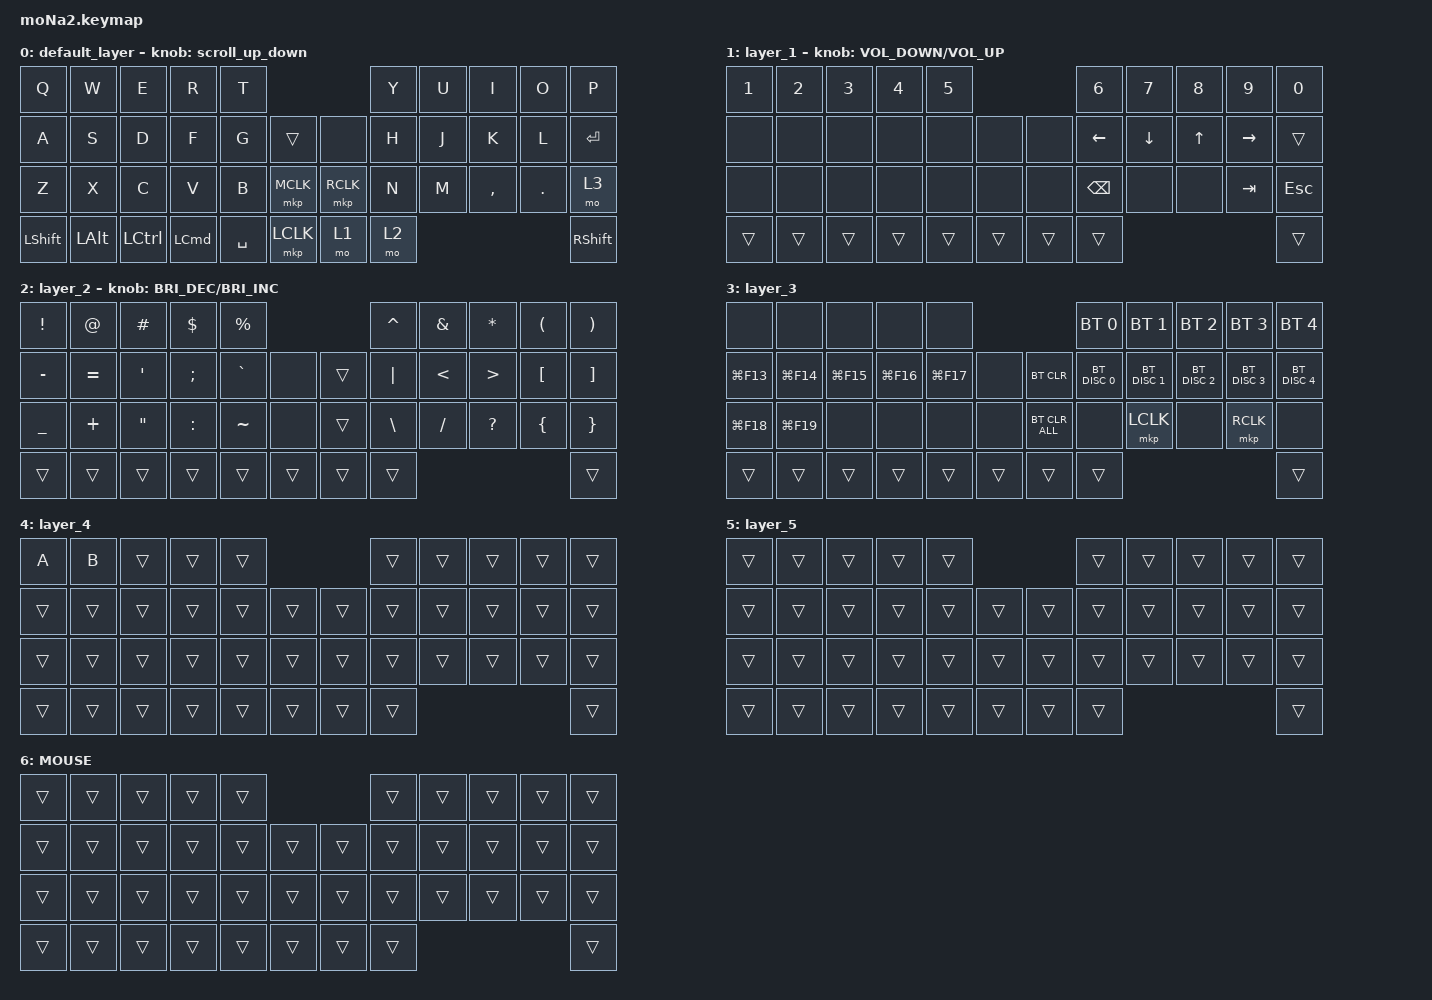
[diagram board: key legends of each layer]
#include <behaviors.dtsi>
#include <dt-bindings/zmk/bt.h>
#include <dt-bindings/zmk/keys.h>
#include <dt-bindings/zmk/pointing.h>

#define ZMK_POINTING_DEFAULT_SCRL_VAL 100
#define MOUSE 6

/ {
    combos { compatible = "zmk,combos"; };

    behaviors {
        scroll_up_down: behavior_sensor_rotate_mouse_wheel_up_down {
            compatible = "zmk,behavior-sensor-rotate";
            #sensor-binding-cells = <0>;
            bindings = <&msc SCRL_DOWN>, <&msc SCRL_UP>;

            tap-ms = <20>;
        };
    };

    keymap {
        compatible = "zmk,keymap";

        default_layer {
            bindings = <
&kp Q           &kp W         &kp E             &kp R             &kp T                              &kp Y  &kp U  &kp I      &kp O    &kp P
&kp A           &kp S         &kp D             &kp F             &kp G      &trans       &none      &kp H  &kp J  &kp K      &kp L    &kp ENTER
&kp Z           &kp X         &kp C             &kp V             &kp B      &mkp MCLK    &mkp RCLK  &kp N  &kp M  &kp COMMA  &kp DOT  &mo 3
&kp LEFT_SHIFT  &kp LEFT_ALT  &kp LEFT_CONTROL  &kp LEFT_COMMAND  &kp SPACE  &mkp LCLK    &mo 1      &mo 2                             &kp RIGHT_SHIFT
            >;

            sensor-bindings = <&scroll_up_down>;
        };

        layer_1 {
            bindings = <
&kp NUMBER_1  &kp NUMBER_2  &kp NUMBER_3  &kp NUMBER_4  &kp NUMBER_5                    &kp NUMBER_6   &kp NUMBER_7  &kp NUMBER_8  &kp NUMBER_9  &kp NUMBER_0
&none         &none         &none         &none         &none         &none     &none   &kp LEFT       &kp DOWN      &kp UP        &kp RIGHT     &trans
&none         &none         &none         &none         &none         &none     &none   &kp BACKSPACE  &none         &none         &kp TAB       &kp ESC
&trans        &trans        &trans        &trans        &trans        &trans    &trans  &trans                                                   &trans
            >;

            sensor-bindings = <&inc_dec_kp C_VOLUME_DOWN C_VOLUME_UP>;
        };

        layer_2 {
            bindings = <
&kp EXCL        &kp AT     &kp POUND          &kp DOLLAR     &kp PERCENT                    &kp CARET      &kp AMPERSAND  &kp ASTRK         &kp LEFT_PARENTHESIS  &kp RIGHT_PARENTHESIS
&kp MINUS       &kp EQUAL  &kp SQT            &kp SEMICOLON  &kp GRAVE    &none     &trans  &kp PIPE       &kp LESS_THAN  &kp GREATER_THAN  &kp LEFT_BRACKET      &kp RIGHT_BRACKET
&kp UNDERSCORE  &kp PLUS   &kp DOUBLE_QUOTES  &kp COLON      &kp TILDE    &none     &trans  &kp BACKSLASH  &kp SLASH      &kp QUESTION      &kp LEFT_BRACE        &kp RIGHT_BRACE
&trans          &trans     &trans             &trans         &trans       &trans    &trans  &trans                                                                &trans
            >;

            sensor-bindings = <&inc_dec_kp C_BRIGHTNESS_DEC C_BRIGHTNESS_INC>;
        };

        layer_3 {
            bindings = <
&none        &none        &none        &none        &none                                  &bt BT_SEL 0            &bt BT_SEL 1        &bt BT_SEL 2  &bt BT_SEL 3  &bt BT_SEL 4
&kp LG(F13)  &kp LG(F14)  &kp LG(F15)  &kp LG(F16)  &kp LG(F17)  &none     &bt BT_CLR      &bt BT_DISC 0           &bt BT_DISC 1       &bt BT_DISC 2 &bt BT_DISC 3 &bt BT_DISC 4
&kp LG(F18)  &kp LG(F19)  &none        &none        &none        &none     &bt BT_CLR_ALL  &none                   &mkp LCLK           &none         &mkp RCLK     &none
&trans       &trans       &trans       &trans       &trans       &trans    &trans          &trans                                                                  &trans
            >;
        };

        layer_4 {
            bindings = <
&kp A   &kp B   &trans  &trans  &trans                    &trans  &trans  &trans  &trans  &trans
&trans  &trans  &trans  &trans  &trans  &trans    &trans  &trans  &trans  &trans  &trans  &trans
&trans  &trans  &trans  &trans  &trans  &trans    &trans  &trans  &trans  &trans  &trans  &trans
&trans  &trans  &trans  &trans  &trans  &trans    &trans  &trans                          &trans
            >;
        };

        layer_5 {
            bindings = <
&trans  &trans  &trans  &trans  &trans                    &trans  &trans  &trans  &trans  &trans
&trans  &trans  &trans  &trans  &trans  &trans    &trans  &trans  &trans  &trans  &trans  &trans
&trans  &trans  &trans  &trans  &trans  &trans    &trans  &trans  &trans  &trans  &trans  &trans
&trans  &trans  &trans  &trans  &trans  &trans    &trans  &trans                          &trans
            >;
        };

        MOUSE {
            bindings = <
&trans  &trans  &trans  &trans  &trans                    &trans  &trans  &trans  &trans  &trans
&trans  &trans  &trans  &trans  &trans  &trans    &trans  &trans  &trans  &trans  &trans  &trans
&trans  &trans  &trans  &trans  &trans  &trans    &trans  &trans  &trans  &trans  &trans  &trans
&trans  &trans  &trans  &trans  &trans  &trans    &trans  &trans                          &trans
            >;
        };
    };
};
